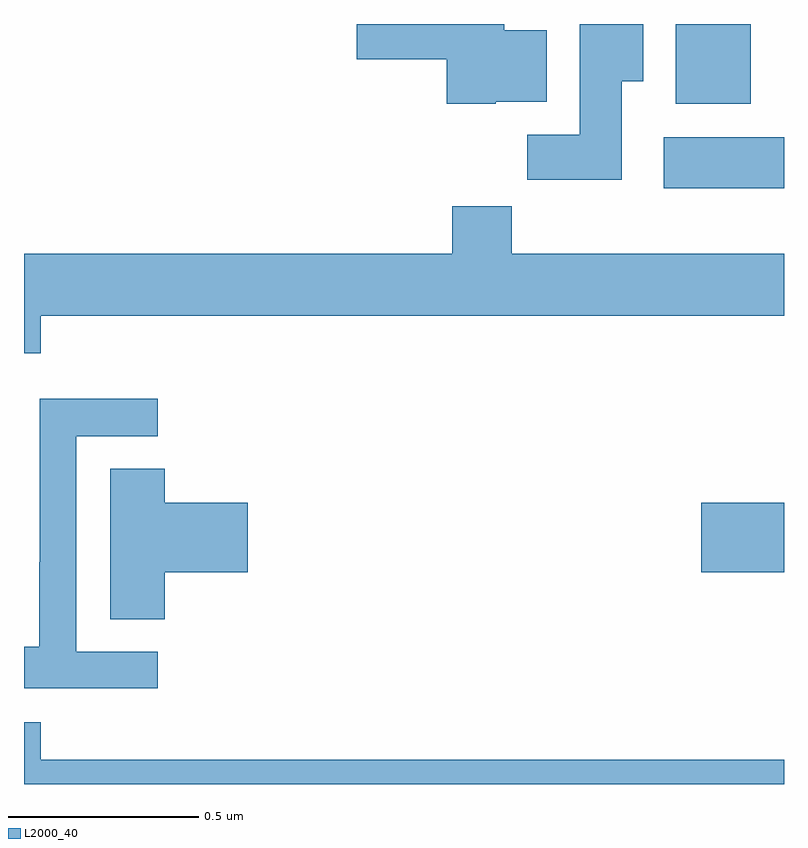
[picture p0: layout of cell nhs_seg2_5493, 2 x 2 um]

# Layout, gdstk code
import gdstk
lib = gdstk.Library(unit=1e-6, precision=1e-09)
def R(c, l, rs):  # rectangles x0, y0, x1, y1
    for r in rs: c.add(gdstk.rectangle(r[:2], r[2:], *l))
def P(c, l, *ps):  # polygons
    for p in ps: c.add(gdstk.Polygon(p, *l))
L2000_40 = (2000, 40)

nhs_seg2_5493 = lib.new_cell('nhs_seg2_5493')
R(nhs_seg2_5493, L2000_40, [(181.782,584.357,182,584.54), (181.683,585.368,182,585.502), (181.715,585.59,181.912,585.8)])
P(nhs_seg2_5493, L2000_40, [(181.573,585.649),(181.63,585.649),(181.63,585.8),(181.463,585.8),(181.463,585.508),(181.324,585.508),(181.324,585.39),(181.573,585.39)],
  [(181.242,585.596),(181.375,585.596),(181.375,585.784),(181.264,585.784),(181.264,585.8),(180.876,585.8),(180.876,585.707),(181.112,585.707),(181.112,585.59),(181.242,585.59)],
  [(180.044,585.032),(182,585.032),(182,585.196),(181.283,585.196),(181.283,585.32),(181.127,585.32),(181.127,585.196),(180,585.196),(180,584.933),(180.044,584.933)],
  [(180.352,584.148),(180.138,584.148),(180.138,584.715),(180.352,584.715),(180.352,584.814),(180.042,584.814),(180.042,584.384),(180.04,584.384),(180.04,584.161),(180,584.161),(180,584.052),(180.352,584.052)],
  [(180.371,584.357),(180.589,584.357),(180.589,584.54),(180.371,584.54),(180.371,584.63),(180.227,584.63),(180.227,584.233),(180.371,584.233)],
  [(180,583.963),(180,583.8),(182,583.8),(182,583.864),(180.044,583.864),(180.044,583.963)])

lib.write_gds('nhs_seg2_5493.gds')
